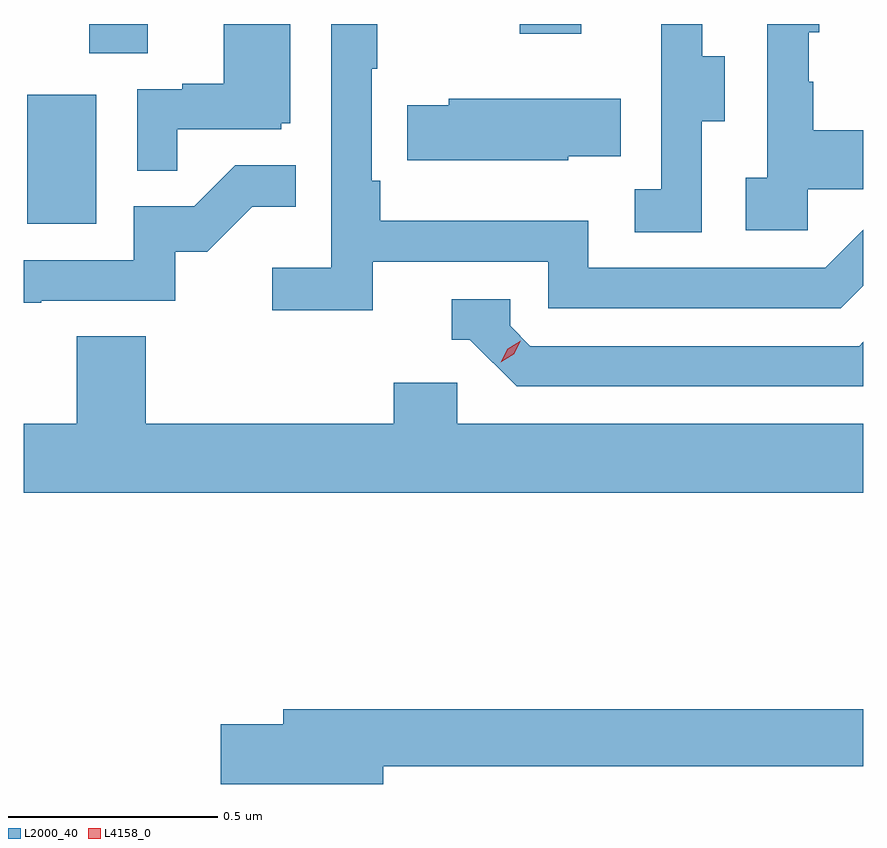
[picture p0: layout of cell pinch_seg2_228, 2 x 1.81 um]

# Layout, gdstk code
import gdstk
lib = gdstk.Library(unit=1e-6, precision=1e-09)
def R(c, l, rs):  # rectangles x0, y0, x1, y1
    for r in rs: c.add(gdstk.rectangle(r[:2], r[2:], *l))
def P(c, l, *ps):  # polygons
    for p in ps: c.add(gdstk.Polygon(p, *l))
L2000_40 = (2000, 40)
L4158_0 = (4158, 0)

pinch_seg2_228 = lib.new_cell('pinch_seg2_228')
R(pinch_seg2_228, L2000_40, [(994.712,650.94,994.876,651.247), (994.859,651.346,994.999,651.416), (995.884,651.393,996.031,651.416)])
P(pinch_seg2_228, L2000_40, [(995.534,650.85),(995.952,650.85),(995.952,650.739),(996.649,650.739),(996.703,650.793),(996.703,650.926),(996.612,650.835),(996.048,650.835),(996.048,650.947),(995.552,650.947),(995.552,651.043),(995.532,651.043),(995.532,651.31),(995.545,651.31),(995.545,651.416),(995.436,651.416),(995.436,650.836),(995.295,650.836),(995.295,650.734),(995.534,650.734)],
  [(995.069,651.165),(995.316,651.165),(995.316,651.18),(995.338,651.18),(995.338,651.416),(995.18,651.416),(995.18,651.274),(995.081,651.274),(995.081,651.261),(994.974,651.261),(994.974,651.067),(995.069,651.067)],
  [(996.318,651.184),(996.373,651.184),(996.373,651.339),(996.319,651.339),(996.319,651.416),(996.221,651.416),(996.221,651.327),(996.222,651.327),(996.222,651.023),(996.159,651.023),(996.159,650.92),(996.318,650.92)],
  [(996.57,651.023),(996.703,651.023),(996.703,651.163),(996.583,651.163),(996.583,651.278),(996.573,651.278),(996.573,651.396),(996.598,651.396),(996.598,651.416),(996.474,651.416),(996.474,651.05),(996.423,651.05),(996.423,650.925),(996.57,650.925)],
  [(996,651.101),(996.125,651.101),(996.125,651.238),(995.715,651.238),(995.715,651.222),(995.617,651.222),(995.617,651.092),(996,651.092)],
  [(994.745,650.757),(995.064,650.757),(995.064,650.874),(995.14,650.874),(995.247,650.981),(995.351,650.981),(995.351,651.08),(995.207,651.08),(995.109,650.982),(994.965,650.982),(994.965,650.853),(994.703,650.853),(994.703,650.752),(994.745,650.752)],
  [(996.703,650.659),(996.693,650.649),(995.91,650.649),(995.862,650.697),(995.862,650.76),(995.723,650.76),(995.723,650.664),(995.766,650.664),(995.877,650.553),(996.703,650.553)],
  [(996.703,650.464),(995.736,650.464),(995.736,650.562),(995.585,650.562),(995.585,650.464),(994.994,650.464),(994.994,650.672),(994.829,650.672),(994.829,650.464),(994.703,650.464),(994.703,650.3),(996.703,650.3)],
  [(995.56,649.648),(996.703,649.648),(996.703,649.784),(995.321,649.784),(995.321,649.748),(995.172,649.748),(995.172,649.606),(995.56,649.606)])
P(pinch_seg2_228, L4158_0, [(995.839,650.611),(995.839,650.611),(995.856,650.643),(995.887,650.662),(995.887,650.662),(995.887,650.662),(995.87,650.63),(995.839,650.611)])

lib.write_gds('pinch_seg2_228.gds')
